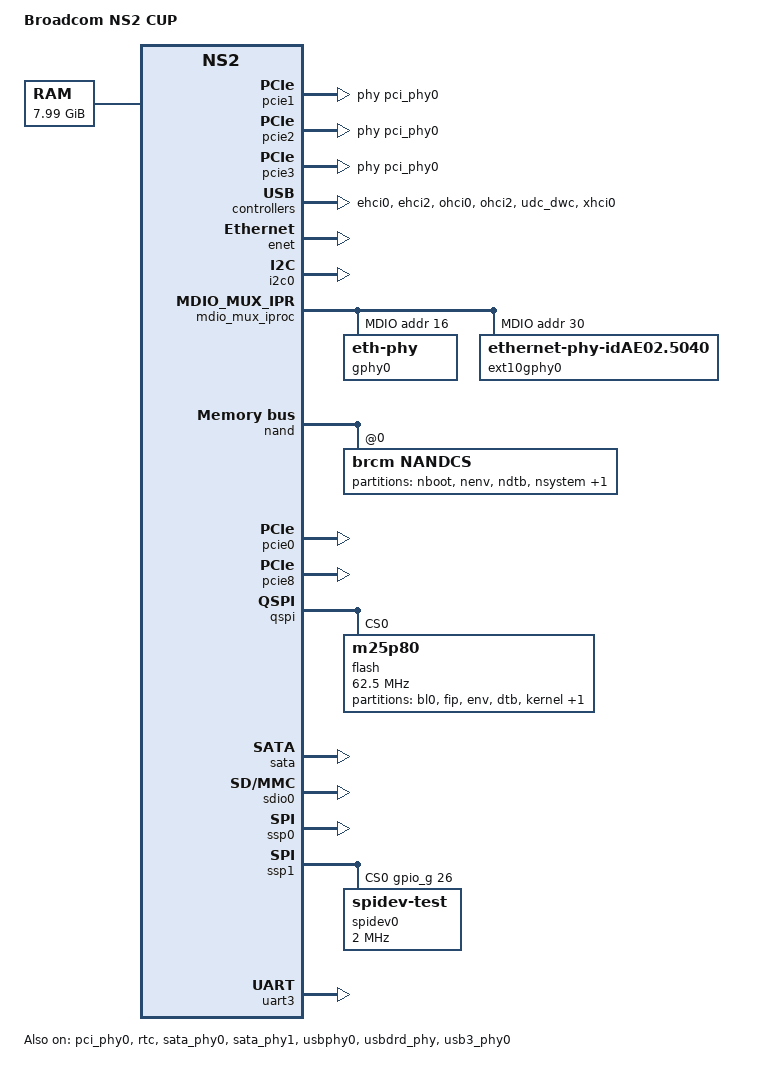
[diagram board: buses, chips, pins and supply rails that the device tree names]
/*
 *  BSD LICENSE
 *
 *  Copyright(c) 2017 Broadcom.  All rights reserved.
 *
 *  Redistribution and use in source and binary forms, with or without
 *  modification, are permitted provided that the following conditions
 *  are met:
 *
 *    * Redistributions of source code must retain the above copyright
 *      notice, this list of conditions and the following disclaimer.
 *    * Redistributions in binary form must reproduce the above copyright
 *      notice, this list of conditions and the following disclaimer in
 *      the documentation and/or other materials provided with the
 *      distribution.
 *    * Neither the name of Broadcom Corporation nor the names of its
 *      contributors may be used to endorse or promote products derived
 *      from this software without specific prior written permission.
 *
 *  THIS SOFTWARE IS PROVIDED BY THE COPYRIGHT HOLDERS AND CONTRIBUTORS
 *  "AS IS" AND ANY EXPRESS OR IMPLIED WARRANTIES, INCLUDING, BUT NOT
 *  LIMITED TO, THE IMPLIED WARRANTIES OF MERCHANTABILITY AND FITNESS FOR
 *  A PARTICULAR PURPOSE ARE DISCLAIMED. IN NO EVENT SHALL THE COPYRIGHT
 *  OWNER OR CONTRIBUTORS BE LIABLE FOR ANY DIRECT, INDIRECT, INCIDENTAL,
 *  SPECIAL, EXEMPLARY, OR CONSEQUENTIAL DAMAGES (INCLUDING, BUT NOT
 *  LIMITED TO, PROCUREMENT OF SUBSTITUTE GOODS OR SERVICES; LOSS OF USE,
 *  DATA, OR PROFITS; OR BUSINESS INTERRUPTION) HOWEVER CAUSED AND ON ANY
 *  THEORY OF LIABILITY, WHETHER IN CONTRACT, STRICT LIABILITY, OR TORT
 *  (INCLUDING NEGLIGENCE OR OTHERWISE) ARISING IN ANY WAY OUT OF THE USE
 * OF THIS SOFTWARE, EVEN IF ADVISED OF THE POSSIBILITY OF SUCH DAMAGE.
 */

/dts-v1/;

#include "ns2-quad-core.dtsi"

/ {
	model = "Broadcom NS2 CUP";
	compatible = "brcm,ns2-cup", "brcm,ns2";

	aliases {
		serial0 = &uart3;
	};

	chosen {
		stdout-path = "serial0:115200n8";
		bootargs = "earlycon=uart8250,mmio32,0x66130000";
	};

	memory {
		device_type = "memory";
		reg = <0x00000000 0x80000000 0x00000000 0x01000000>,
		      <0x00000000 0x81200000 0x00000000 0x01000000>,
		      <0x00000000 0x82900000 0x00000001 0xFD700000>;
		/* SVK DDR3 boards have 8GiB of DRAM present */
	};

	pcie1: pcie@20030000 {
		compatible = "brcm,iproc-pcie";
		reg = <0 0x20030000 0 0x1000>;

		#interrupt-cells = <1>;
		interrupt-map-mask = <0 0 0 0>;
		interrupt-map = <0 0 0 0 &gic 0 GIC_SPI 287 IRQ_TYPE_NONE>;

		linux,pci-domain = <1>;

		bus-range = <0x00 0xff>;

		#address-cells = <3>;
		#size-cells = <2>;
		device_type = "pci";
		ranges = <0x83000000 0 0x8000000 0 0x8000000 0 0x8000000>;

		brcm,pcie-ob;
		brcm,pcie-ob-oarr-size;
		brcm,pcie-ob-axi-offset = <0x8000000>;
		brcm,pcie-ob-window-size = <128>;

		phys = <&pci_phy0>;
		phy-names = "pcie-phy";

		msi-parent = <&v2m0>;
	};

	pcie2: pcie@20040000 {
		compatible = "brcm,iproc-pcie";
		reg = <0 0x20040000 0 0x1000>;

		#interrupt-cells = <1>;
		interrupt-map-mask = <0 0 0 0>;
		interrupt-map = <0 0 0 0 &gic 0 GIC_SPI 293 IRQ_TYPE_NONE>;

		linux,pci-domain = <2>;

		bus-range = <0x00 0xff>;

		#address-cells = <3>;
		#size-cells = <2>;
		device_type = "pci";
		ranges = <0x83000000 0 0x10000000 0 0x10000000 0 0x8000000>;

		brcm,pcie-ob;
		brcm,pcie-ob-oarr-size;
		brcm,pcie-ob-axi-offset = <0x10000000>;
		brcm,pcie-ob-window-size = <128>;

		phys = <&pci_phy0>;
		phy-names = "pcie-phy";

		msi-parent = <&v2m0>;
	};

	pcie3: pcie@20050000 {
		compatible = "brcm,iproc-pcie";
		reg = <0 0x20050000 0 0x1000>;

		#interrupt-cells = <1>;
		interrupt-map-mask = <0 0 0 0>;
		interrupt-map = <0 0 0 0 &gic 0 GIC_SPI 299 IRQ_TYPE_NONE>;

		linux,pci-domain = <3>;

		bus-range = <0x00 0xff>;

		#address-cells = <3>;
		#size-cells = <2>;
		device_type = "pci";
		ranges = <0x83000000 0 0x18000000 0 0x18000000 0 0x8000000>;

		brcm,pcie-ob;
		brcm,pcie-ob-oarr-size;
		brcm,pcie-ob-axi-offset = <0x18000000>;
		brcm,pcie-ob-window-size = <128>;

		phys = <&pci_phy0>;
		phy-names = "pcie-phy";

		msi-parent = <&v2m0>;
	};
};

&ehci0 {
	status = "ok";
};

&ehci2 {
	status = "ok";
};

&enet {
	status = "ok";
};

&i2c0 {
	status = "ok";
};

&mdio_mux_iproc {
	mdio@10 {
		gphy0: eth-phy@10 {
			reg = <0x10>;
		};
		ext10gphy0: eth-phy@1E {
			compatible = "ethernet-phy-idAE02.5040",
				     "ethernet-phy-ieee802.3-c45";
			reg = <0x1E>;
		};
	};
};

&nand {
	nandcs@0 {
		compatible = "brcm,nandcs";
		reg = <0>;
		nand-ecc-mode = "hw";
		nand-ecc-strength = <30>;
		nand-ecc-step-size = <1024>;
		nand-bus-width = <8>;
		brcm,nand-oob-sector-size = <27>;
		#address-cells = <1>;
		#size-cells = <1>;

		partition@0 {
			label = "nboot";
			reg = <0x00000000 0x00280000>; /*  2.5MB */
			read-only;
		};

		partition@280000 {
			label = "nenv";
			reg = <0x00280000 0x00040000>; /* 0.25MB */
			read-only;
		};

		partition@2c0000 {
			label = "ndtb";
			reg = <0x002c0000 0x00040000>; /* 0.25MB */
			read-only;
		};

		partition@300000 {
			label = "nsystem";
			reg = <0x00300000 0x03d00000>; /*   61MB */
			read-only;
		};

		partition@4000000 {
			label = "nrootfs";
			reg = <0x04000000 0x3c000000>; /*  960MB */
		};
	};
};

&ohci0 {
	status = "ok";
};

&ohci2 {
	status = "ok";
};

&pci_phy0 {
	status = "ok";
};

&pcie0 {
	ranges = <0x83000000 0 0x00000000 0 0x00000000 0 0x8000000>;
	brcm,pcie-ob-window-size = <128>;
	status = "ok";
};

&pcie8 {
	status = "ok";
};

&pinctrl {
	pinctrl-names = "default";
	pinctrl-0 = <&nand_sel &gpio_sel &pwm_sel>;
	nand_sel: nand_sel {
		function = "nand";
		groups = "nand_grp";
	};

	gpio_sel: gpio_sel {
		function = "gpio";
		groups = "gpio_0_1_grp","gpio_20_21_grp";
	};

	pwm_sel: pwm_sel {
		function = "pwm";
		groups = "pwm_0_grp", "pwm_1_grp";
	};
};

&qspi {
	flash: m25p80@0 {
		#address-cells = <1>;
		#size-cells = <1>;
		compatible = "m25p80";
		spi-max-frequency = <62500000>;
		m25p,default-addr-width = <3>;
		reg = <0x0 0x0>;

		partition@0 {
			label = "bl0";
			reg = <0x00000000 0x00080000>; /*  512KB */
		};

		partition@80000 {
			label = "fip";
			reg = <0x00080000 0x00150000>; /* 1344KB */
		};

		partition@1e0000 {
			label = "env";
			reg = <0x001e0000 0x00010000>;/*    64KB */
		};

		partition@1f0000 {
			label = "dtb";
			reg = <0x001f0000 0x00010000>; /*   64KB */
		};

		partition@200000 {
			label = "kernel";
			reg = <0x00200000 0x00e00000>; /*   14MB */
		};

		partition@1000000 {
			label = "rootfs";
			reg = <0x01000000 0x01000000>; /*   16MB */
		};
	};
};

&rtc {
	status = "ok";
};

&sata_phy0 {
	status = "ok";
};

&sata_phy1 {
	status = "ok";
};

&sata {
	status = "ok";
};

&sdio0 {
	/delete-property/vqmmc-supply;
	status = "ok";
};

&ssp0 {
	status = "ok";
};

&ssp1 {
	status = "ok";
	spi-cpha;
	cs-gpios = <&gpio_g 26 0>;
	spi-max-frequency = <2000000>;

	spidev0: spidev@0 {
		compatible = "spidev-test";
		reg = <0>;
		spi-cpha = <1>;
		spi-max-frequency = <2000000>;
	};
};

&uart3 {
	status = "ok";
};

&udc_dwc {
	status = "ok";
};

&usbphy0 {
	reverse-ppc-polarity;
	status = "ok";
};

&usbdrd_phy {
	id-gpios = <&gpio_g 20 0>;
	status = "ok";
};

&usb3_phy0 {
	/delete-property/misc-rst-ctrl-syscon;
	reverse-ppc-polarity;
	status = "ok";
};

&xhci0 {
	status = "ok";
};

